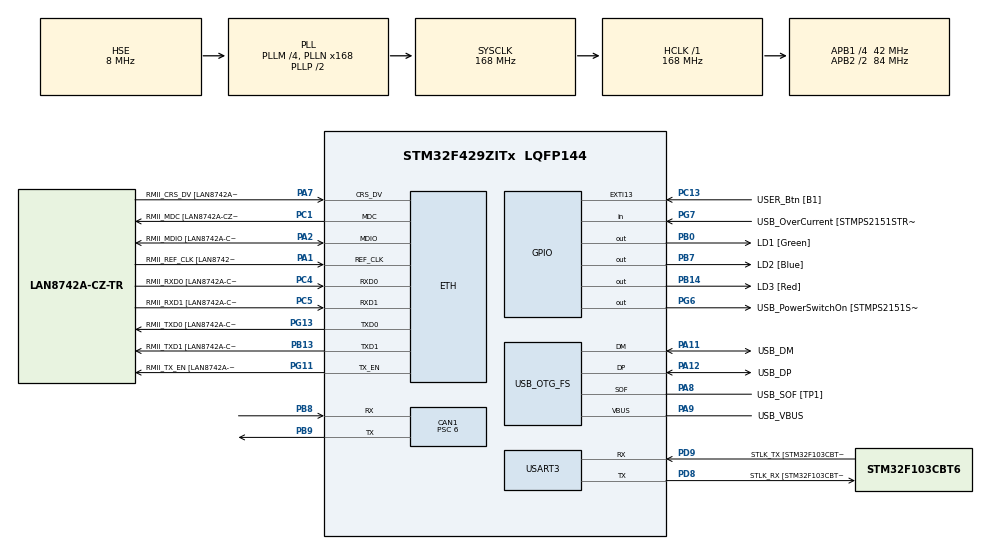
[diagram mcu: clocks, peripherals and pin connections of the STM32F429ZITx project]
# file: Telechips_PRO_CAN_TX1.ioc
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CAN1.ABOM=ENABLE
CAN1.BS1=CAN_BS1_11TQ
CAN1.BS2=CAN_BS2_2TQ
CAN1.CalculateBaudRate=500000
CAN1.CalculateTimeBit=2000
CAN1.CalculateTimeQuantum=142.85714285714286
CAN1.NART=ENABLE
CAN1.Prescaler=6
ETH.MediaInterface=HAL_ETH_RMII_MODE
ETH.PHY_Name=LAN8742A_PHY_ADDRESS
ETH.PHY_Value=0
ETH.PhyAddress=0
Mcu.Family=STM32F4
Mcu.Name=STM32F429ZITx
Mcu.Package=LQFP144
NVIC.PriorityGroup=NVIC_PRIORITYGROUP_4
PA1.GPIO_Label=RMII_REF_CLK [LAN8742A-CZ-TR_REFCLK0]
PA1.Mode=RMII
PA1.Signal=ETH_REF_CLK
PA10.GPIO_Label=USB_ID
PA10.Signal=USB_OTG_FS_ID
PA11.GPIO_Label=USB_DM
PA11.Mode=Device_Only
PA11.Signal=USB_OTG_FS_DM
PA12.GPIO_Label=USB_DP
PA12.Mode=Device_Only
PA12.Signal=USB_OTG_FS_DP
PA13.GPIO_Label=TMS
PA13.Mode=Serial_Wire
PA13.Signal=SYS_JTMS-SWDIO
PA14.GPIO_Label=TCK
PA14.Mode=Serial_Wire
PA14.Signal=SYS_JTCK-SWCLK
PA2.GPIO_Label=RMII_MDIO [LAN8742A-CZ-TR_MDIO]
PA2.Mode=RMII
PA2.Signal=ETH_MDIO
PA7.GPIO_Label=RMII_CRS_DV [LAN8742A-CZ-TR_CRS_DV]
PA7.Mode=RMII
PA7.Signal=ETH_CRS_DV
PA8.GPIO_Label=USB_SOF [TP1]
PA8.Mode=Activate_SOF_FS
PA8.Signal=USB_OTG_FS_SOF
PA9.GPIO_Label=USB_VBUS
PA9.Mode=Activate_VBUS
PA9.Signal=USB_OTG_FS_VBUS
PB0.GPIO_Label=LD1 [Green]
PB0.Signal=GPIO_Output
PB13.GPIO_Label=RMII_TXD1 [LAN8742A-CZ-TR_TXD1]
PB13.Mode=RMII
PB13.Signal=ETH_TXD1
PB14.GPIO_Label=LD3 [Red]
PB14.Signal=GPIO_Output
PB7.GPIO_Label=LD2 [Blue]
PB7.Signal=GPIO_Output
PB8.Mode=CAN_Activate
PB8.Signal=CAN1_RX
PB9.Mode=CAN_Activate
PB9.Signal=CAN1_TX
PC1.GPIO_Label=RMII_MDC [LAN8742A-CZ-TR_MDC]
PC1.Mode=RMII
PC1.Signal=ETH_MDC
PC13.GPIO_Label=USER_Btn [B1]
PC13.Signal=GPXTI13
PC14/OSC32_IN.Mode=LSE-External-Oscillator
PC14/OSC32_IN.Signal=RCC_OSC32_IN
PC15/OSC32_OUT.Mode=LSE-External-Oscillator
PC15/OSC32_OUT.Signal=RCC_OSC32_OUT
PC4.GPIO_Label=RMII_RXD0 [LAN8742A-CZ-TR_RXD0]
PC4.Mode=RMII
PC4.Signal=ETH_RXD0
PC5.GPIO_Label=RMII_RXD1 [LAN8742A-CZ-TR_RXD1]
PC5.Mode=RMII
PC5.Signal=ETH_RXD1
PD8.GPIO_Label=STLK_RX [STM32F103CBT6_PA3]
PD8.Mode=Asynchronous
PD8.Signal=USART3_TX
PD9.GPIO_Label=STLK_TX [STM32F103CBT6_PA2]
PD9.Mode=Asynchronous
PD9.Signal=USART3_RX
PG11.GPIO_Label=RMII_TX_EN [LAN8742A-CZ-TR_TXEN]
PG11.Mode=RMII
PG11.Signal=ETH_TX_EN
PG13.GPIO_Label=RMII_TXD0 [LAN8742A-CZ-TR_TXD0]
PG13.Mode=RMII
PG13.Signal=ETH_TXD0
PG6.GPIO_Label=USB_PowerSwitchOn [STMPS2151STR_EN]
PG6.Signal=GPIO_Output
PG7.GPIO_Label=USB_OverCurrent [STMPS2151STR_FAULT]
PG7.Signal=GPIO_Input
PH0/OSC_IN.GPIO_Label=MCO [STM32F103CBT6_PA8]
PH0/OSC_IN.Mode=HSE-External-Clock-Source
PH0/OSC_IN.Signal=RCC_OSC_IN
PH1/OSC_OUT.Mode=HSE-External-Clock-Source
PH1/OSC_OUT.Signal=RCC_OSC_OUT
ProjectManager.HeapSize=0x200
ProjectManager.StackSize=0x400
ProjectManager.TargetToolchain=STM32CubeIDE
RCC.48MHZClocksFreq_Value=48000000
RCC.AHBFreq_Value=168000000
RCC.APB1CLKDivider=RCC_HCLK_DIV4
RCC.APB1Freq_Value=42000000
RCC.APB1TimFreq_Value=84000000
RCC.APB2CLKDivider=RCC_HCLK_DIV2
RCC.APB2Freq_Value=84000000
RCC.APB2TimCLKDivider=2
RCC.APB2TimFreq_Value=168000000
RCC.CortexFreq_Value=168000000
RCC.HCLKFreq_Value=168000000
RCC.HSE_VALUE=8000000
RCC.HSI_VALUE=16000000
RCC.PLLM=4
RCC.PLLMUL=RCC_PLL_MUL9
RCC.PLLN=168
RCC.PLLQ=7
RCC.PRESCALERUSB=RCC_USBCLKSOURCE_PLL_DIV1_5
RCC.SYSCLKFreq_VALUE=168000000
RCC.SYSCLKSource=RCC_SYSCLKSOURCE_PLLCLK
RCC.SYSCLKSourceVirtual=RCC_SYSCLKSOURCE_PLLCLK
RCC.USBFreq_Value=48000000
RCC.VCOOutputFreq_Value=336000000
USART3.VirtualMode=VM_ASYNC
USB_OTG_FS.VirtualMode=Device_Only
board=NUCLEO-F429ZI

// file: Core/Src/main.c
/* USER CODE BEGIN Header */
/**
  ******************************************************************************
  * @file           : main.c
  * @brief          : Main program body
  ******************************************************************************
  * @attention
  *
  * Copyright (c) 2025 STMicroelectronics.
  * All rights reserved.
  *
  * This software is licensed under terms that can be found in the LICENSE file
  * in the root directory of this software component.
  * If no LICENSE file comes with this software, it is provided AS-IS.
  *
  ******************************************************************************
  */
/* USER CODE END Header */
#include "main.h"
#include "string.h"

/* USER CODE BEGIN Includes */
#include <stdio.h>

/* USER CODE END Includes */

ETH_TxPacketConfig TxConfig;
ETH_DMADescTypeDef  DMARxDscrTab[ETH_RX_DESC_CNT]; /* Ethernet Rx DMA Descriptors */
ETH_DMADescTypeDef  DMATxDscrTab[ETH_TX_DESC_CNT]; /* Ethernet Tx DMA Descriptors */

CAN_HandleTypeDef hcan1;

ETH_HandleTypeDef heth;

UART_HandleTypeDef huart3;

PCD_HandleTypeDef hpcd_USB_OTG_FS;

void SystemClock_Config(void);
static void MX_GPIO_Init(void);
static void MX_ETH_Init(void);
static void MX_USART3_UART_Init(void);
static void MX_USB_OTG_FS_PCD_Init(void);
static void MX_CAN1_Init(void);
/* USER CODE BEGIN PFP */
#include <stdarg.h>
#define printf	Uart3_Printf

// UART print Method

void Uart3_Send_Byte(char ch){
	//	TDR이 비었는 경우에 쓰기 가능 (TXE == 1 대기)
	if(ch=='\n'){
		USART3->DR = '\r';	// TDR <- c
		while((USART3->SR>>7 & 0x1)==0);
	}
	USART3->DR = ch;		// TDR <- c
	while((USART3->SR>>7 & 0x1)==0);
}

void Uart3_Send_String(char* str){
	while(*str){
		Uart3_Send_Byte(*str++);
	}
}

void Uart3_Printf(char *fmt,...)
{
	va_list ap;
	char string[256];

	va_start(ap,fmt);
	vsprintf(string,fmt,ap);
	va_end(ap);
	Uart3_Send_String(string);
}

// CAN Test
void CAN_Test(void)
{
	 CAN_TxHeaderTypeDef txHeader;
	 uint8_t txData[8] = { 0x11,0x22,0x33,0x44,0x55,0x66,0x77,0x88 };
	 uint32_t txMailbox;

	 txHeader.StdId = 0x123;
	 txHeader.ExtId = 0;
	 txHeader.IDE   = CAN_ID_STD;
	 txHeader.RTR   = CAN_RTR_DATA;
	 txHeader.DLC   = 8;
	 txHeader.TransmitGlobalTime = DISABLE;

	 if (HAL_CAN_GetTxMailboxesFreeLevel(&hcan1) > 0)
	    {
	      HAL_CAN_AddTxMessage(&hcan1, &txHeader, txData, &txMailbox);
	    }
}

/* USER CODE END PFP */

int main(void)
{

  /* MCU Configuration--------------------------------------------------------*/

  /* Reset of all peripherals, Initializes the Flash interface and the Systick. */
  HAL_Init();

  /* Configure the system clock */
  SystemClock_Config();

  /* Initialize all configured peripherals */
  MX_GPIO_Init();
  MX_ETH_Init();
  MX_USART3_UART_Init();
  MX_USB_OTG_FS_PCD_Init();
  MX_CAN1_Init();
  /* USER CODE BEGIN 2 */
  HAL_CAN_Start(&hcan1);
  /* USER CODE END 2 */

  /* Infinite loop */
  while (1)
  {
	  CAN_Test();
	  HAL_Delay(500);
  }
}

void SystemClock_Config(void)
{
  RCC_OscInitTypeDef RCC_OscInitStruct = {0};
  RCC_ClkInitTypeDef RCC_ClkInitStruct = {0};

  /** Configure the main internal regulator output voltage
  */
  __HAL_RCC_PWR_CLK_ENABLE();
  __HAL_PWR_VOLTAGESCALING_CONFIG(PWR_REGULATOR_VOLTAGE_SCALE1);

  /** Initializes the RCC Oscillators according to the specified parameters
  * in the RCC_OscInitTypeDef structure.
  */
  RCC_OscInitStruct.OscillatorType = RCC_OSCILLATORTYPE_HSE;
  RCC_OscInitStruct.HSEState = RCC_HSE_BYPASS;
  RCC_OscInitStruct.PLL.PLLState = RCC_PLL_ON;
  RCC_OscInitStruct.PLL.PLLSource = RCC_PLLSOURCE_HSE;
  RCC_OscInitStruct.PLL.PLLM = 4;
  RCC_OscInitStruct.PLL.PLLN = 168;
  RCC_OscInitStruct.PLL.PLLP = RCC_PLLP_DIV2;
  RCC_OscInitStruct.PLL.PLLQ = 7;
  if (HAL_RCC_OscConfig(&RCC_OscInitStruct) != HAL_OK)
  {
    Error_Handler();
  }

  /** Initializes the CPU, AHB and APB buses clocks
  */
  RCC_ClkInitStruct.ClockType = RCC_CLOCKTYPE_HCLK|RCC_CLOCKTYPE_SYSCLK
                              |RCC_CLOCKTYPE_PCLK1|RCC_CLOCKTYPE_PCLK2;
  RCC_ClkInitStruct.SYSCLKSource = RCC_SYSCLKSOURCE_PLLCLK;
  RCC_ClkInitStruct.AHBCLKDivider = RCC_SYSCLK_DIV1;
  RCC_ClkInitStruct.APB1CLKDivider = RCC_HCLK_DIV4;
  RCC_ClkInitStruct.APB2CLKDivider = RCC_HCLK_DIV2;

  if (HAL_RCC_ClockConfig(&RCC_ClkInitStruct, FLASH_LATENCY_5) != HAL_OK)
  {
    Error_Handler();
  }
}

static void MX_CAN1_Init(void)
{

  hcan1.Instance = CAN1;
  hcan1.Init.Prescaler = 6;
  hcan1.Init.Mode = CAN_MODE_NORMAL;
  hcan1.Init.SyncJumpWidth = CAN_SJW_1TQ;
  hcan1.Init.TimeSeg1 = CAN_BS1_11TQ;
  hcan1.Init.TimeSeg2 = CAN_BS2_2TQ;
  hcan1.Init.TimeTriggeredMode = DISABLE;
  hcan1.Init.AutoBusOff = ENABLE;
  hcan1.Init.AutoWakeUp = DISABLE;
  hcan1.Init.AutoRetransmission = ENABLE;
  hcan1.Init.ReceiveFifoLocked = DISABLE;
  hcan1.Init.TransmitFifoPriority = DISABLE;
  if (HAL_CAN_Init(&hcan1) != HAL_OK)
  {
    Error_Handler();
  }

}

static void MX_ETH_Init(void)
{

   static uint8_t MACAddr[6];

  heth.Instance = ETH;
  MACAddr[0] = 0x00;
  MACAddr[1] = 0x80;
  MACAddr[2] = 0xE1;
  MACAddr[3] = 0x00;
  MACAddr[4] = 0x00;
  MACAddr[5] = 0x00;
  heth.Init.MACAddr = &MACAddr[0];
  heth.Init.MediaInterface = HAL_ETH_RMII_MODE;
  heth.Init.TxDesc = DMATxDscrTab;
  heth.Init.RxDesc = DMARxDscrTab;
  heth.Init.RxBuffLen = 1524;

  if (HAL_ETH_Init(&heth) != HAL_OK)
  {
    Error_Handler();
  }

  memset(&TxConfig, 0 , sizeof(ETH_TxPacketConfig));
  TxConfig.Attributes = ETH_TX_PACKETS_FEATURES_CSUM | ETH_TX_PACKETS_FEATURES_CRCPAD;
  TxConfig.ChecksumCtrl = ETH_CHECKSUM_IPHDR_PAYLOAD_INSERT_PHDR_CALC;
  TxConfig.CRCPadCtrl = ETH_CRC_PAD_INSERT;

}

static void MX_USART3_UART_Init(void)
{

  huart3.Instance = USART3;
  huart3.Init.BaudRate = 115200;
  huart3.Init.WordLength = UART_WORDLENGTH_8B;
  huart3.Init.StopBits = UART_STOPBITS_1;
  huart3.Init.Parity = UART_PARITY_NONE;
  huart3.Init.Mode = UART_MODE_TX_RX;
  huart3.Init.HwFlowCtl = UART_HWCONTROL_NONE;
  huart3.Init.OverSampling = UART_OVERSAMPLING_16;
  if (HAL_UART_Init(&huart3) != HAL_OK)
  {
    Error_Handler();
  }

}

static void MX_USB_OTG_FS_PCD_Init(void)
{

  hpcd_USB_OTG_FS.Instance = USB_OTG_FS;
  hpcd_USB_OTG_FS.Init.dev_endpoints = 4;
  hpcd_USB_OTG_FS.Init.speed = PCD_SPEED_FULL;
  hpcd_USB_OTG_FS.Init.dma_enable = DISABLE;
  hpcd_USB_OTG_FS.Init.phy_itface = PCD_PHY_EMBEDDED;
  hpcd_USB_OTG_FS.Init.Sof_enable = ENABLE;
  hpcd_USB_OTG_FS.Init.low_power_enable = DISABLE;
  hpcd_USB_OTG_FS.Init.lpm_enable = DISABLE;
  hpcd_USB_OTG_FS.Init.vbus_sensing_enable = ENABLE;
  hpcd_USB_OTG_FS.Init.use_dedicated_ep1 = DISABLE;
  if (HAL_PCD_Init(&hpcd_USB_OTG_FS) != HAL_OK)
  {
    Error_Handler();
  }

}

static void MX_GPIO_Init(void)
{
  GPIO_InitTypeDef GPIO_InitStruct = {0};

  /* GPIO Ports Clock Enable */
  __HAL_RCC_GPIOC_CLK_ENABLE();
  __HAL_RCC_GPIOH_CLK_ENABLE();
  __HAL_RCC_GPIOA_CLK_ENABLE();
  __HAL_RCC_GPIOB_CLK_ENABLE();
  __HAL_RCC_GPIOD_CLK_ENABLE();
  __HAL_RCC_GPIOG_CLK_ENABLE();

  /*Configure GPIO pin Output Level */
  HAL_GPIO_WritePin(GPIOB, LD1_Pin|LD3_Pin|LD2_Pin, GPIO_PIN_RESET);

  /*Configure GPIO pin Output Level */
  HAL_GPIO_WritePin(USB_PowerSwitchOn_GPIO_Port, USB_PowerSwitchOn_Pin, GPIO_PIN_RESET);

  /*Configure GPIO pin : USER_Btn_Pin */
  GPIO_InitStruct.Pin = USER_Btn_Pin;
  GPIO_InitStruct.Mode = GPIO_MODE_IT_RISING;
  GPIO_InitStruct.Pull = GPIO_NOPULL;
  HAL_GPIO_Init(USER_Btn_GPIO_Port, &GPIO_InitStruct);

  /*Configure GPIO pins : LD1_Pin LD3_Pin LD2_Pin */
  GPIO_InitStruct.Pin = LD1_Pin|LD3_Pin|LD2_Pin;
  GPIO_InitStruct.Mode = GPIO_MODE_OUTPUT_PP;
  GPIO_InitStruct.Pull = GPIO_NOPULL;
  GPIO_InitStruct.Speed = GPIO_SPEED_FREQ_LOW;
  HAL_GPIO_Init(GPIOB, &GPIO_InitStruct);

  /*Configure GPIO pin : USB_PowerSwitchOn_Pin */
  GPIO_InitStruct.Pin = USB_PowerSwitchOn_Pin;
  GPIO_InitStruct.Mode = GPIO_MODE_OUTPUT_PP;
  GPIO_InitStruct.Pull = GPIO_NOPULL;
  GPIO_InitStruct.Speed = GPIO_SPEED_FREQ_LOW;
  HAL_GPIO_Init(USB_PowerSwitchOn_GPIO_Port, &GPIO_InitStruct);

  /*Configure GPIO pin : USB_OverCurrent_Pin */
  GPIO_InitStruct.Pin = USB_OverCurrent_Pin;
  GPIO_InitStruct.Mode = GPIO_MODE_INPUT;
  GPIO_InitStruct.Pull = GPIO_NOPULL;
  HAL_GPIO_Init(USB_OverCurrent_GPIO_Port, &GPIO_InitStruct);

}

void Error_Handler(void)
{
  __disable_irq();
  while (1)
  {
  }
}
